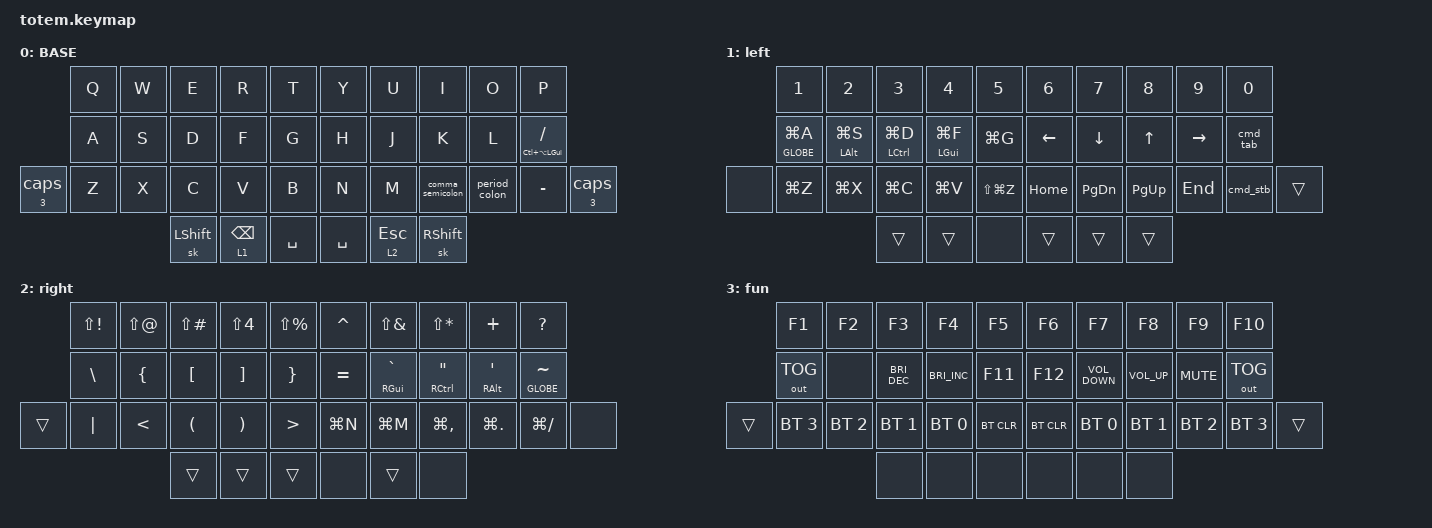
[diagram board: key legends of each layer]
//
//                                                        ▀▀▀▀▀     ▀▀▀▀▀          ▀▀█▀▀
//                                                        ▄▀▀▀▄  ▄  ▄▀▀▀▄  ▄  ▄▀▀▀▄  █  ▄▀▀▀▄
//                                                        █   █  █  █   █  █  █   █  █  █   █
//                                                         ▀▀▀   █   ▀▀▀   █   ▀▀▀   ▀   ▀▀▀
//                                                               █      ▄▄▄█▄▄▄    █   █  
//                                                               ▀      █  █  █     █▄█
//                                                             ▀▀▀▀▀    █  █  █      ▀
//                                                                      ▀  ▀  ▀
//
// ▄▄▄▄▄▄▄▄▄▄▄▄▄▄▄▄▄▄▄▄▄▄▄▄▄▄▄▄▄▄▄▄▄▄▄▄▄▄▄▄▄▄▄▄▄▄▄▄▄▄▄▄▄▄▄▄▄▄▄▄▄▄▄▄▄▄▄▄▄▄▄▄▄▄▄▄▄▄▄▄▄▄▄▄▄▄▄▄▄▄▄▄▄▄▄▄▄▄▄▄▄▄▄▄▄▄▄▄▄▄▄▄▄▄▄▄▄▄▄▄▄▄▄▄▄▄▄▄▄▄▄▄▄▄▄▄▄▄▄▄▄▄▄▄▄▄▄▄▄

#include <behaviors.dtsi>
#include <dt-bindings/zmk/bt.h>
#include <dt-bindings/zmk/keys.h>
#include <dt-bindings/zmk/outputs.h>

#define BASE 0
#define NAV  1
#define SYM  2
#define FUN  3

&caps_word { continue-list = <UNDERSCORE BACKSPACE DELETE LEFT_ARROW DOWN_ARROW UP_ARROW RIGHT_ARROW HOME END PAGE_DOWN PAGE_UP MINUS LEFT_SHIFT RIGHT_SHIFT>; };

&mt { tapping-term-ms = <150>; };

&sk { quick-release; };

/ {
    combos {
        compatible = "zmk,combos";

        enter {
            bindings = <&kp RET>;
            key-positions = <16 17>;
            layers = <0>;
        };

        bs_df {
            bindings = <&bwd_dwd>;
            key-positions = <12 13>;
            layers = <0>;
        };
    };

    behaviors {
        mt_left: mt_left {
            compatible = "zmk,behavior-hold-tap";
            label = "MT_LEFT";
            bindings = <&kp>, <&kp>;

            #binding-cells = <2>;
            flavor = "balanced";
            hold-trigger-on-release;
            hold-trigger-key-positions = <5 6 7 8 9 15 16 17 18 19 26 27 28 29 30 31 32 33 34 35 37 36>;
            require-prior-idle-ms = <100>;
            tapping-term-ms = <250>;
            quick-tap-ms = <150>;
        };

        mt_right: mt_right {
            compatible = "zmk,behavior-hold-tap";
            label = "MT_RIGHT";
            bindings = <&kp>, <&kp>;

            #binding-cells = <2>;
            flavor = "balanced";
            hold-trigger-on-release;
            require-prior-idle-ms = <100>;
            tapping-term-ms = <250>;
            hold-trigger-key-positions = <0 1 2 3 4 10 11 12 13 14 22 23 24 25 20 21 32 33 34 35 36 37>;
            quick-tap-ms = <150>;
        };

        comma_semicolon: comma_semicolon {
            compatible = "zmk,behavior-mod-morph";
            label = "COMMA_SEMICOLON";
            bindings = <&kp COMMA>, <&kp SEMICOLON>;

            #binding-cells = <0>;
            mods = <(MOD_LSFT|MOD_RSFT)>;
        };

        period_colon: period_colon {
            compatible = "zmk,behavior-mod-morph";
            label = "PERIOD_COLON";
            bindings = <&kp PERIOD>, <&kp COLON>;

            #binding-cells = <0>;
            mods = <(MOD_LSFT|MOD_RSFT)>;
        };

        cmd_tab: cmd_tab {
            compatible = "zmk,behavior-mod-morph";
            label = "CMD_TAB";
            bindings = <&kp TAB>, <&kp F21>;

            #binding-cells = <0>;
            mods = <(MOD_RGUI|MOD_LGUI)>;
            keep-mods = <(MOD_LSFT|MOD_RSFT)>;
        };

        cmd_stb: cmd_stb {
            compatible = "zmk,behavior-mod-morph";
            label = "CMD_STB";
            bindings = <&kp LS(TAB)>, <&kp F22>;

            #binding-cells = <0>;
            mods = <(MOD_RGUI|MOD_LGUI)>;
        };

        bwd_dwd: bwd_dwd {
            compatible = "zmk,behavior-mod-morph";
            label = "BWD_DWD";
            bindings = <&kp LA(BACKSPACE)>, <&kp LA(DEL)>;

            #binding-cells = <0>;
            mods = <(MOD_LSFT|MOD_RSFT)>;
        };

        caps: caps {
            compatible = "zmk,behavior-mod-morph";
            label = "CAPS";
            bindings = <&caps_word>, <&kp CAPSLOCK>;

            #binding-cells = <0>;
            mods = <(MOD_LSFT|MOD_RSFT)>;
        };

        lt_caps: lt_caps {
            compatible = "zmk,behavior-hold-tap";
            label = "LT_CAPS";
            bindings = <&lt>, <&caps>;

            #binding-cells = <2>;
            tapping-term-ms = <150>;
        };

        sk_mo: sk_mo {
            compatible = "zmk,behavior-hold-tap";
            label = "SK_MO";
            bindings = <&mo>, <&sk>;

            #binding-cells = <2>;
            tapping-term-ms = <150>;
        };
    };

    macros {
        leq: leq {
            compatible = "zmk,behavior-macro";
            #binding-cells = <0>;
            bindings = <&kp LESS_THAN &kp EQUAL>;
            label = "LEQ";
        };

        geq: geq {
            compatible = "zmk,behavior-macro";
            #binding-cells = <0>;
            bindings = <&kp EQUAL &kp GREATER_THAN>;
            label = "GEQ";
        };

        left_arrow: left_arrow {
            compatible = "zmk,behavior-macro";
            #binding-cells = <0>;
            bindings = <&kp LESS_THAN &kp MINUS>;
            label = "left_arrow";
        };

        right_arrow: right_arrow {
            compatible = "zmk,behavior-macro";
            #binding-cells = <0>;
            bindings = <&kp MINUS &kp GREATER_THAN>;
            label = "right_arrow";
        };

        colon_equals: colon_equals {
            compatible = "zmk,behavior-macro";
            #binding-cells = <0>;
            bindings = <&kp COLON &kp EQUAL>;
            label = "colon_equals";
        };

        yank_inner_word: yank_inner_word {
            compatible = "zmk,behavior-macro";
            #binding-cells = <0>;
            bindings = <&kp ESCAPE &kp Y &kp I &kp W &kp I>;
            label = "yank_inner_word";
        };

        yank_line: yank_line {
            compatible = "zmk,behavior-macro";
            #binding-cells = <0>;
            bindings = <&kp ESCAPE &kp LS(V) &kp Y &kp I>;
            label = "yank_line";
        };
    };

    keymap {
        compatible = "zmk,keymap";

        // ▄▄▄▄▄▄▄▄▄▄▄▄▄▄▄▄▄▄▄▄▄▄▄▄▄▄▄▄▄▄▄▄▄▄▄▄▄▄▄▄▄▄▄▄▄▄▄▄▄▄▄▄▄▄▄▄▄▄▄▄▄▄▄▄▄▄▄▄▄▄▄▄▄▄▄▄▄▄▄▄▄▄▄▄▄▄▄▄▄▄▄▄▄▄▄▄▄▄▄▄▄▄▄▄▄▄▄▄▄▄▄▄▄▄▄▄▄▄▄▄▄▄▄▄▄▄▄▄▄▄▄▄▄▄▄▄▄▄▄▄▄▄▄▄▄▄▄▄▄

        base {
            // ┏━━━━━━━━━━━━━━━━━━━━━━━━━━━━━━━━━━━━━━━┓

            label = "BASE";

            // ┗━━━━━━━━━━━━━━━━━━━━━━━━━━━━━━━━━━━━━━━┛
            //             ┏━━━━━━━━━━━┳━━━━━━━━━━━┳━━━━━━━━━━━┳━━━━━━━━━━━┳━━━━━━━━━━━┓   ┏━━━━━━━━━━━┳━━━━━━━━━━━┳━━━━━━━━━━━┳━━━━━━━━━━━┳━━━━━━━━━━━┓
            //             ┃     Q     ┃     W     ┃     E     ┃     R     ┃     T     ┃   ┃     Z     ┃     U     ┃     I     ┃     O     ┃     P     ┃
            //             ┣━━━━━━━━━━━╋━━━━━━━━━━━╋━━━━━━━━━━━╋━━━━━━━━━━━╋━━━━━━━━━━━┫   ┣━━━━━━━━━━━╋━━━━━━━━━━━╋━━━━━━━━━━━╋━━━━━━━━━━━╋━━━━━━━━━━━┫
            //             ┃     A     ┃     S     ┃     D     ┃     F     ┃     G     ┃   ┃     H     ┃     J     ┃     K     ┃     L     ┃     -     ┃
            // ┏━━━━━━━━━━━╋━━━━━━━━━━━╋━━━━━━━━━━━╋━━━━━━━━━━━╋━━━━━━━━━━━╋━━━━━━━━━━━┫   ┣━━━━━━━━━━━╋━━━━━━━━━━━╋━━━━━━━━━━━╋━━━━━━━━━━━╋━━━━━━━━━━━╋━━━━━━━━━━━┓
            // ┃           ┃     Y     ┃     X     ┃     C     ┃     V     ┃     B     ┃   ┃     N     ┃     M     ┃     ,     ┃     .     ┃    TAB    ┃           ┃
            // ┗━━━━━━━━━━━┻━━━━━━━━━━━┻━━━━━━━━━━━╋━━━━━━━━━━━╋━━━━━━━━━━━╋━━━━━━━━━━━┫   ┣━━━━━━━━━━━╋━━━━━━━━━━━╋━━━━━━━━━━━╋━━━━━━━━━━━┻━━━━━━━━━━━┻━━━━━━━━━━━┛
            //                                     ┃  SK SHFT  ┃    MO1    ┃    ESC    ┃   ┃   SPACE   ┃    MO2    ┃   ENTER   ┃
            //                                     ┗━━━━━━━━━━━┻━━━━━━━━━━━┻━━━━━━━━━━━┛   ┗━━━━━━━━━━━┻━━━━━━━━━━━┻━━━━━━━━━━━┛

            bindings = <
              &kp Q  &kp W  &kp E           &kp R               &kp T        &kp Y      &kp U         &kp I             &kp O          &kp P
              &kp A  &kp S  &kp D           &kp F               &kp G        &kp H      &kp J         &kp K             &kp L          &mt LC(LA(LEFT_GUI)) SLASH
&lt_caps 3 0  &kp Z  &kp X  &kp C           &kp V               &kp B        &kp N      &kp M         &comma_semicolon  &period_colon  &kp MINUS                   &lt_caps 3 0
                            &sk LEFT_SHIFT  &sk_mo 1 BACKSPACE  &kp SPACE    &kp SPACE  &lt 2 ESCAPE  &sk RIGHT_SHIFT
            >;
        };

        left {
            bindings = <
       &kp N1           &kp N2          &kp N3           &kp N4          &kp N5           &kp N6    &kp N7     &kp N8     &kp N9     &kp N0
       &mt GLOBE LG(A)  &mt LALT LG(S)  &mt LCTRL LG(D)  &mt LGUI LG(F)  &kp LG(G)        &kp LEFT  &kp DOWN   &kp UP     &kp RIGHT  &cmd_tab
&none  &kp LG(Z)        &kp LG(X)       &kp LG(C)        &kp LG(V)       &kp LS(LG(Z))    &kp HOME  &kp PG_DN  &kp PG_UP  &kp END    &cmd_stb  &trans
                                        &trans           &trans          &none            &trans    &trans     &trans
            >;
        };

        right {
            bindings = <
        &kp LS(EXCL)  &kp LS(AT)      &kp LS(POUND)         &kp LS(N4)             &kp LS(PRCNT)       &kp CARET  &kp LS(AMPS)    &kp LS(STAR)             &kp PLUS        &kp QUESTION
        &kp BSLH      &kp LEFT_BRACE  &kp LBKT              &kp RBKT               &kp RIGHT_BRACE     &kp EQUAL  &mt RGUI GRAVE  &mt RCTRL DOUBLE_QUOTES  &mt RALT SQT    &mt GLOBE TILDE
&trans  &kp PIPE      &kp LESS_THAN   &kp LEFT_PARENTHESIS  &kp RIGHT_PARENTHESIS  &kp GREATER_THAN    &kp LG(N)  &kp LG(M)       &kp LG(COMMA)            &kp LG(PERIOD)  &kp LG(SLASH)    &none
                                      &trans                &trans                 &trans              &none      &trans          &none
            >;
        };

        fun {
            bindings = <
        &kp F1        &kp F2        &kp F3         &kp F4                &kp F5        &kp F6      &kp F7             &kp F8           &kp F9        &kp F10
        &out OUT_TOG  &none         &kp C_BRI_DEC  &kp C_BRIGHTNESS_INC  &kp F11       &kp F12     &kp C_VOLUME_DOWN  &kp C_VOLUME_UP  &kp C_MUTE    &out OUT_TOG
&trans  &bt BT_SEL 3  &bt BT_SEL 2  &bt BT_SEL 1   &bt BT_SEL 0          &bt BT_CLR    &bt BT_CLR  &bt BT_SEL 0       &bt BT_SEL 1     &bt BT_SEL 2  &bt BT_SEL 3  &trans
                                    &none          &none                 &none         &none       &none              &none
            >;
        };
    };
};
